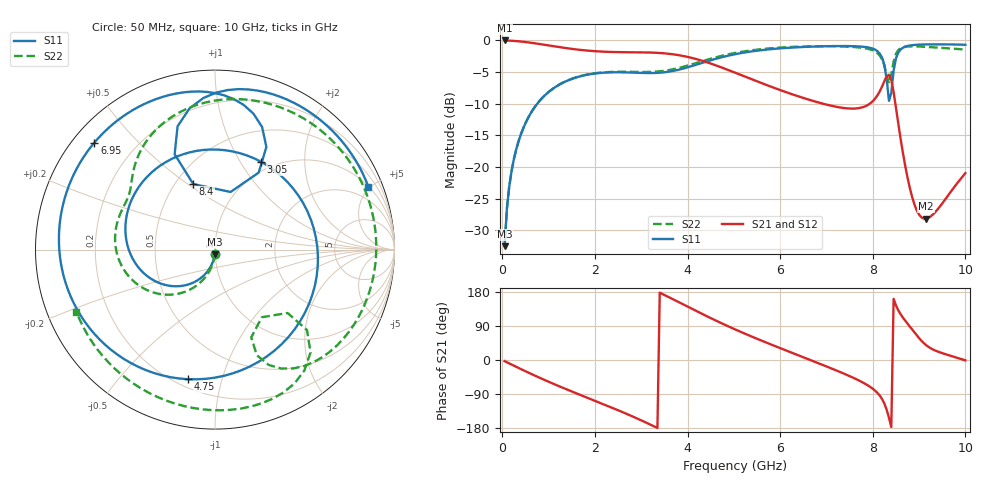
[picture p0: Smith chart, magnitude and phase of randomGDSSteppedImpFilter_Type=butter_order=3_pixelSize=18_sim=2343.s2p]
! freq	dB(S11)	phase(S11)	dB(S12)	phase(S12)
!  dB(S21)	phase(S21)	dB(S22)	phase(S22)
!S-par simulation data
#  GHz  S  DB  R 50
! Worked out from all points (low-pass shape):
!   200 points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, 50 MHz to 10 GHz, reference 50 ohm
!   highest |S21| = -0.01 dB at 50 MHz (marker M1); lowest = -28.2 dB at 9.15 GHz (marker M2)
!   |S21| within 3 dB of the highest: start of sweep to 4.219 GHz
!   lowest |S11| = -32.5 dB at 50 MHz (marker M3), VSWR 1.05, Z = 49.9 - j2.36 ohm
!   |S11| at or under -10 dB: start of sweep to 756.4 MHz
!   |S22| runs from -32.5 to -0.9 dB; largest |S21 - S12| = 0
!   S11 on the Smith chart (normalised r, x): 50 MHz: 1.00, -0.05; 3.05 GHz: 0.88, +1.24; 4.75 GHz: 0.25, -0.78; 6.95 GHz: 0.06, +0.38; 8.4 GHz: 0.61, +0.53; 10 GHz: 1.03, +4.88
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0.05  -32.51 -92.1  -0.01 -3.1  -0.01 -3.1  -32.51 -91.4
0.2  -20.65 -103.5  -0.06 -12.1  -0.06 -12.1  -20.63 -100.8
0.5  -13.10 -123.6  -0.26 -29.7  -0.26 -29.7  -13.08 -116.7
1.1  -7.60 -161.4  -0.91 -62.7  -0.91 -62.7  -7.59 -145.0
1.75  -5.55 158.9  -1.55 -95.4  -1.55 -95.4  -5.53 -170.7
2.5  -5.03 108.3  -1.86 -132.5  -1.86 -132.5  -4.96 165.8
3.05  -5.15 62.2  -1.90 -162.0  -1.90 -162.0  -5.00 153.1
3.4  -5.11 27.7  -1.99 177.7  -1.99 177.7  -4.89 147.0
4  -4.26 -35.1  -2.61 140.9  -2.61 140.9  -3.98 136.0
4.75  -2.64 -101.9  -4.32 96.1  -4.32 96.1  -2.42 113.2
5.05  -2.15 -123.3  -5.17 79.5  -5.17 79.5  -1.95 101.7
5.85  -1.35 -170.0  -7.45 38.6  -7.45 38.6  -1.22 67.5
6.7  -0.98 149.6  -9.55 -2.4  -9.55 -2.4  -0.93 26.6
6.95  -0.93 138.4  -10.06 -14.5  -10.06 -14.5  -0.92 13.7
7.95  -1.19 89.9  -9.93 -71.4  -9.93 -71.4  -1.45 -45.1
8.25  -3.88 63.4  -6.45 -114.8  -6.45 -114.8  -3.97 -68.4
8.35  -9.56 74.9  -5.43 -152.6  -5.43 -152.6  -6.78 -55.3
8.4  -8.29 108.4  -6.26 -176.8  -6.26 -176.8  -5.40 -41.1
8.65  -1.16 89.6  -17.74 112.1  -17.74 112.1  -1.09 -64.3
8.9  -0.72 72.2  -25.93 72.7  -25.93 72.7  -0.95 -84.5
9.15  -0.64 59.3  -28.17 39.5  -28.17 39.5  -1.03 -101.4
10  -0.69 22.2  -20.97 -1.0  -20.97 -1.0  -1.45 -155.9
